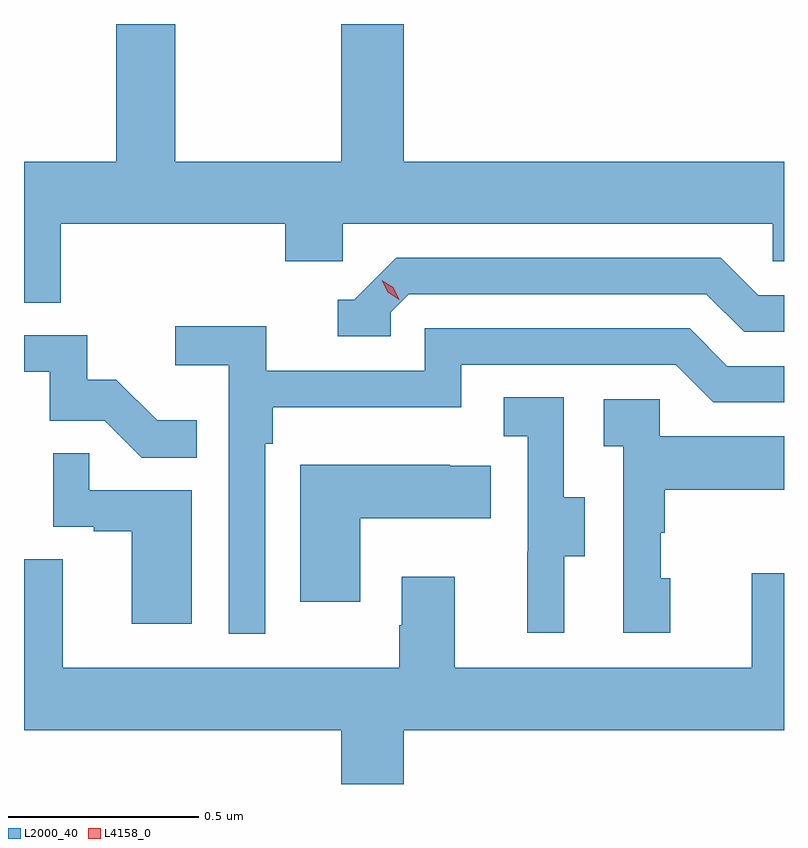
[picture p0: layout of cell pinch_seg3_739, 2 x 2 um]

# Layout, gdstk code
import gdstk
lib = gdstk.Library(unit=1e-6, precision=1e-09)
def P(c, l, *ps):  # polygons
    for p in ps: c.add(gdstk.Polygon(p, *l))
L2000_40 = (2000, 40)
L4158_0 = (4158, 0)

pinch_seg3_739 = lib.new_cell('pinch_seg3_739')
P(pinch_seg3_739, L2000_40, [(883.55,730.22),(884.141,730.22),(884.141,730.122),(884.292,730.122),(884.292,730.22),(885.423,730.22),(885.423,730.122),(885.453,730.122),(885.453,730.384),(884.452,730.384),(884.452,730.746),(884.288,730.746),(884.288,730.384),(883.851,730.384),(883.851,730.746),(883.696,730.746),(883.696,730.384),(883.453,730.384),(883.453,730.012),(883.55,730.012)],
  [(884.418,729.987),(884.466,730.035),(885.249,730.035),(885.348,729.936),(885.453,729.936),(885.453,730.032),(885.385,730.032),(885.286,730.131),(884.433,730.131),(884.322,730.02),(884.279,730.02),(884.279,729.924),(884.418,729.924)],
  [(884.088,729.641),(884.108,729.641),(884.108,729.737),(884.604,729.737),(884.604,729.849),(885.168,729.849),(885.267,729.75),(885.453,729.75),(885.453,729.846),(885.304,729.846),(885.205,729.945),(884.508,729.945),(884.508,729.834),(884.09,729.834),(884.09,729.95),(883.851,729.95),(883.851,729.848),(883.992,729.848),(883.992,729.141),(884.088,729.141)],
  [(883.907,729.703),(883.803,729.703),(883.696,729.81),(883.62,729.81),(883.62,729.927),(883.453,729.927),(883.453,729.831),(883.521,729.831),(883.521,729.702),(883.665,729.702),(883.763,729.604),(883.907,729.604)],
  [(884.875,729.346),(884.929,729.346),(884.929,729.501),(884.874,729.501),(884.874,729.764),(884.715,729.764),(884.715,729.661),(884.778,729.661),(884.778,729.357),(884.777,729.357),(884.777,729.144),(884.875,729.144)],
  [(885.154,729.288),(885.129,729.288),(885.129,729.407),(885.139,729.407),(885.139,729.521),(885.453,729.521),(885.453,729.661),(885.126,729.661),(885.126,729.759),(884.979,729.759),(884.979,729.635),(885.03,729.635),(885.03,729.144),(885.154,729.144)],
  [(883.894,729.519),(883.625,729.519),(883.625,729.617),(883.53,729.617),(883.53,729.423),(883.637,729.423),(883.637,729.411),(883.736,729.411),(883.736,729.168),(883.894,729.168)],
  [(884.338,729.446),(884.681,729.446),(884.681,729.583),(884.573,729.583),(884.573,729.586),(884.18,729.586),(884.18,729.225),(884.338,729.225)],
  [(884.452,728.888),(885.453,728.888),(885.453,729.301),(885.368,729.301),(885.368,729.052),(884.587,729.052),(884.587,729.292),(884.447,729.292),(884.447,729.164),(884.44,729.164),(884.44,729.052),(883.555,729.052),(883.555,729.338),(883.453,729.338),(883.453,728.888),(884.288,728.888),(884.288,728.746),(884.452,728.746)])
P(pinch_seg3_739, L4158_0, [(884.441,730.021),(884.41,730.04),(884.394,730.072),(884.394,730.072),(884.395,730.072),(884.425,730.053),(884.441,730.021),(884.441,730.021)])

lib.write_gds('pinch_seg3_739.gds')
